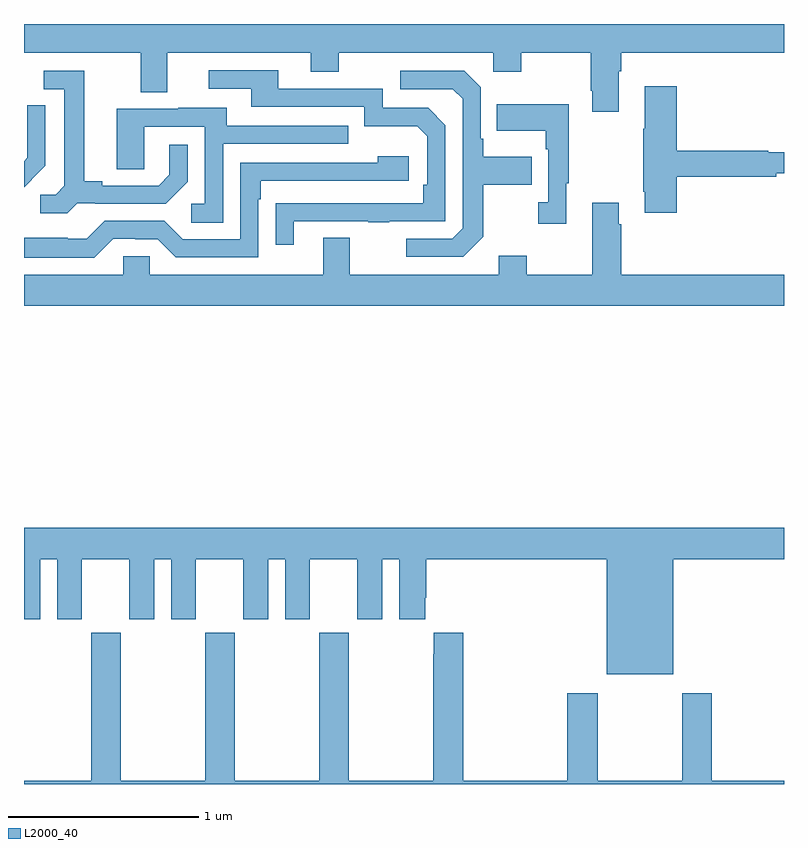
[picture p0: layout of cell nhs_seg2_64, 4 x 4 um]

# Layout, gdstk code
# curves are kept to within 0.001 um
import gdstk
lib = gdstk.Library(unit=1e-6, precision=1e-09)
def P(c, l, *ps):  # polygons
    for p in ps: c.add(gdstk.Polygon(p, *l))
L2000_40 = (2000, 40)

nhs_seg2_64 = lib.new_cell('nhs_seg2_64')
P(nhs_seg2_64, L2000_40, [(116.131,635.552),(116.144,635.552),(116.144,635.648),(117,635.648),(117,635.8),(113,635.8),(113,635.648),(113.615,635.648),(113.615,635.44),(113.755,635.44),(113.755,635.648),(114.509,635.648),(114.509,635.549),(114.657,635.549),(114.657,635.648),(115.47,635.648),(115.47,635.549),(115.617,635.549),(115.617,635.648),(115.984,635.648),(115.984,635.449),(115.991,635.449),(115.991,635.337),(116.131,635.337)],
  [(114.421,634.761),(114.811,634.761),(114.811,634.756),(114.923,634.756),(114.923,634.761),(115.218,634.761),(115.218,635.268),(115.128,635.358),(114.888,635.358),(114.888,635.46),(114.337,635.46),(114.337,635.556),(113.973,635.556),(113.973,635.46),(114.197,635.46),(114.197,635.364),(114.792,635.364),(114.792,635.261),(115.069,635.261),(115.122,635.208),(115.122,634.954),(115.102,634.954),(115.102,634.857),(114.325,634.856),(114.325,634.638),(114.421,634.638)],
  [(113.28,634.857),(113.374,634.857),(113.374,634.854),(113.746,634.854),(113.862,634.97),(113.862,635.164),(113.765,635.164),(113.765,635.007),(113.708,634.95),(113.413,634.95),(113.413,634.973),(113.317,634.973),(113.317,635.553),(113.103,635.553),(113.103,635.457),(113.213,635.457),(113.213,634.949),(113.166,634.902),(113.085,634.902),(113.085,634.805),(113.228,634.805)],
  [(115.417,634.681),(115.417,634.954),(115.673,634.954),(115.673,635.101),(115.417,635.101),(115.417,635.197),(115.404,635.197),(115.404,635.466),(115.317,635.553),(114.981,635.553),(114.981,635.457),(115.257,635.457),(115.308,635.406),(115.308,634.725),(115.254,634.671),(115.011,634.671),(115.011,634.575),(115.311,634.575)],
  [(116.435,634.996),(116.96,634.996),(116.96,635.015),(117,635.015),(117,635.125),(116.918,635.125),(116.918,635.132),(116.435,635.132),(116.435,635.473),(116.267,635.473),(116.267,635.249),(116.26,635.249),(116.26,634.918),(116.267,634.918),(116.267,634.806),(116.435,634.806)],
  [(115.855,634.961),(115.867,634.961),(115.867,635.377),(115.489,635.377),(115.489,635.237),(115.746,635.237),(115.746,635.141),(115.758,635.141),(115.758,634.862),(115.707,634.862),(115.707,634.749),(115.855,634.749)],
  [(113.04,634.98),(113.039,634.981),(113.112,635.054),(113.112,635.372),(113.016,635.372),(113.016,635.218),(113.018,635.218),(113.018,635.096),(113,635.078),(113,634.94)],
  [(114.048,635.169),(114.707,635.169),(114.707,635.265),(114.067,635.265),(114.067,635.359),(113.813,635.359),(113.813,635.355),(113.489,635.355),(113.489,635.035),(113.634,635.035),(113.634,635.259),(113.952,635.259),(113.952,634.854),(113.88,634.854),(113.88,634.753),(114.048,634.753)],
  [(113.469,634.671),(113.585,634.671),(113.585,634.668),(113.703,634.668),(113.799,634.572),(114.234,634.572),(114.234,634.877),(114.247,634.877),(114.247,634.974),(115.024,634.974),(115.024,635.104),(114.863,635.104),(114.863,635.07),(114.138,635.07),(114.138,634.668),(113.835,634.668),(113.739,634.764),(113.424,634.764),(113.331,634.671),(113.231,634.671),(113.231,634.675),(113,634.675),(113,634.571),(113.369,634.571)],
  [(117,634.48),(116.144,634.48),(116.144,634.745),(116.131,634.745),(116.131,634.858),(115.991,634.858),(115.991,634.48),(115.647,634.48),(115.647,634.579),(115.499,634.579),(115.499,634.48),(114.715,634.48),(114.715,634.675),(114.575,634.675),(114.575,634.48),(113.661,634.48),(113.661,634.578),(113.523,634.578),(113.523,634.48),(113,634.48),(113,634.316),(117,634.316)],
  [(116.416,632.984),(117,632.984),(117,633.148),(113,633.148),(113,632.667),(113.086,632.667),(113.086,632.984),(113.174,632.984),(113.174,632.667),(113.305,632.667),(113.305,632.984),(113.555,632.984),(113.555,632.667),(113.686,632.667),(113.686,632.984),(113.774,632.984),(113.774,632.667),(113.905,632.667),(113.905,632.984),(114.155,632.984),(114.155,632.667),(114.286,632.667),(114.286,632.984),(114.374,632.984),(114.374,632.667),(114.505,632.667),(114.505,632.984),(114.755,632.984),(114.755,632.667),(114.886,632.667),(114.886,632.984),(114.974,632.984),(114.974,632.667),(115.111,632.667),(115.111,632.779),(115.118,632.779),(115.118,632.984),(116.066,632.984),(116.066,632.378),(116.416,632.378)],
  [(117,631.816),(116.619,631.816),(116.619,632.278),(116.464,632.278),(116.464,631.816),(116.019,631.816),(116.019,632.278),(115.859,632.278),(115.859,631.816),(115.313,631.816),(115.313,632.596),(115.157,632.596),(115.157,632.483),(115.153,632.483),(115.153,631.816),(114.708,631.816),(114.708,632.596),(114.553,632.596),(114.553,631.816),(114.108,631.816),(114.108,632.596),(113.953,632.596),(113.953,631.816),(113.508,631.816),(113.508,632.596),(113.353,632.596),(113.353,631.816),(113,631.816),(113,631.8),(117,631.8)])

lib.write_gds('nhs_seg2_64.gds')
